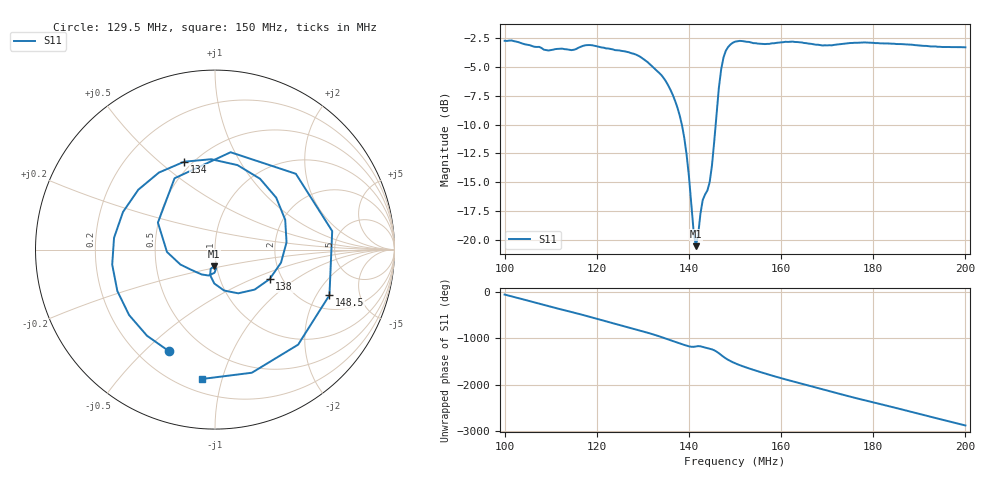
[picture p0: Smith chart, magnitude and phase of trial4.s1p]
#  HZ  S  RI  R  50.00
! Rohde & Schwarz ZVA40 2Ports - Version 3.12 - 1145.1110k40 SN: 100360
! Date: 2019-07-29 16:24:11
! Measurement: S11
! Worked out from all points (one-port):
!   201 points, 100 MHz to 200 MHz, reference 50 ohm
!   lowest |S11| = -20.6 dB at 141.5 MHz (marker M1), VSWR 1.21, Z = 48.5 - j9.14 ohm
!   |S11| at or under -10 dB: 138.5 MHz to 145.8 MHz (7.344 MHz wide, 5.17 % of centre)
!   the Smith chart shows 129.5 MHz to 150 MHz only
!   S11 on the Smith chart (normalised r, x): 129.5 MHz: 0.32, -0.60; 134 MHz: 0.45, +0.61; 138 MHz: 1.72, -0.64; 148.5 MHz: 2.70, -2.59; 150 MHz: 0.29, -0.87
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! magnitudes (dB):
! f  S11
! 100 MHz  -2.7
! 109.5 MHz  -3.6
! 112.5 MHz  -3.4
! 118.5 MHz  -3.1
! 125 MHz  -3.6
! 129.5 MHz  -4.1
! 134 MHz  -5.7
! 136 MHz  -7.0
! 137.5 MHz  -8.5
! 138 MHz  -9.2
! 139.5 MHz  -12.6
! 140 MHz  -14.5
! 141 MHz  -19.2
! 141.5 MHz  -20.6
! 142 MHz  -19.6
! 142.5 MHz  -17.8
! 143 MHz  -16.6
! 144.5 MHz  -15.0
! 145 MHz  -13.6
! 146.5 MHz  -6.8
! 147 MHz  -5.2
! 147.5 MHz  -4.2
! 148.5 MHz  -3.3
! 150 MHz  -2.8
! 162.5 MHz  -2.8
! 175 MHz  -2.9
! 187.5 MHz  -3.0
! 200 MHz  -3.3
